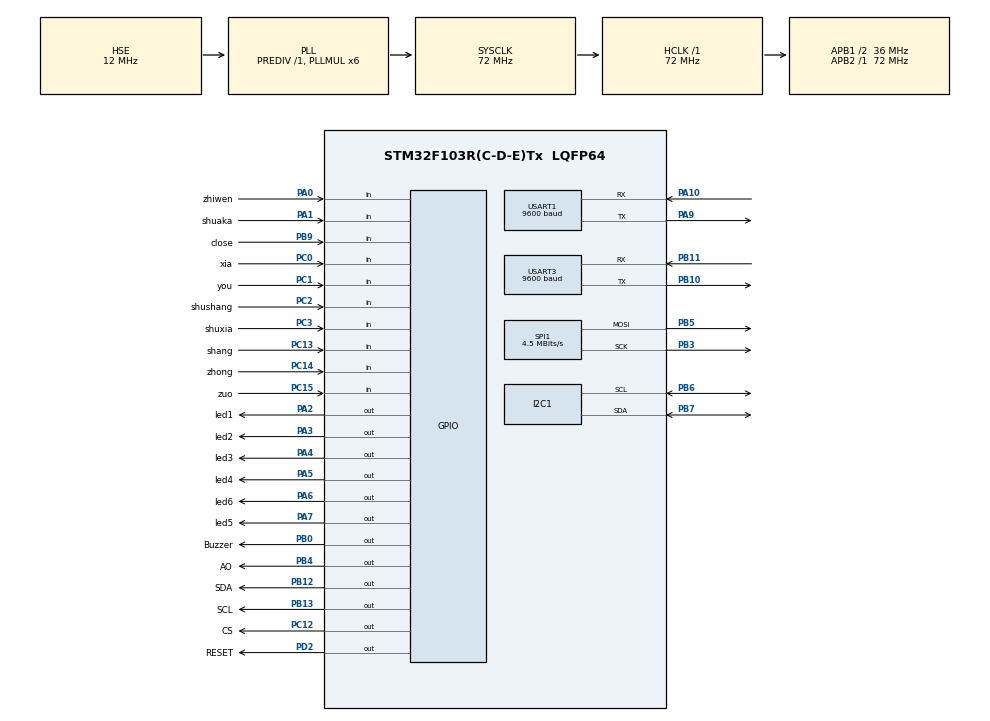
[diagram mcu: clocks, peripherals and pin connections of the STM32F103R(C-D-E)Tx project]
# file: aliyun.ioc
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Dma.Request0=USART3_RX
Dma.Request1=USART3_TX
Dma.USART3_RX.0.Direction=DMA_PERIPH_TO_MEMORY
Dma.USART3_RX.0.Instance=DMA1_Channel3
Dma.USART3_RX.0.MemDataAlignment=DMA_MDATAALIGN_BYTE
Dma.USART3_RX.0.MemInc=DMA_MINC_ENABLE
Dma.USART3_RX.0.Mode=DMA_NORMAL
Dma.USART3_RX.0.PeriphDataAlignment=DMA_PDATAALIGN_BYTE
Dma.USART3_RX.0.PeriphInc=DMA_PINC_DISABLE
Dma.USART3_RX.0.Priority=DMA_PRIORITY_LOW
Dma.USART3_TX.1.Direction=DMA_MEMORY_TO_PERIPH
Dma.USART3_TX.1.Instance=DMA1_Channel2
Dma.USART3_TX.1.MemDataAlignment=DMA_MDATAALIGN_BYTE
Dma.USART3_TX.1.MemInc=DMA_MINC_ENABLE
Dma.USART3_TX.1.Mode=DMA_NORMAL
Dma.USART3_TX.1.PeriphDataAlignment=DMA_PDATAALIGN_BYTE
Dma.USART3_TX.1.PeriphInc=DMA_PINC_DISABLE
Dma.USART3_TX.1.Priority=DMA_PRIORITY_LOW
IWDG.Prescaler=IWDG_PRESCALER_16
IWDG.Reload=1600
Mcu.Family=STM32F1
Mcu.Name=STM32F103R(C-D-E)Tx
Mcu.Package=LQFP64
NVIC.DMA1_Channel2_IRQn=true\:0\:0\:false\:false\:true\:false\:true
NVIC.DMA1_Channel3_IRQn=true\:0\:0\:false\:false\:true\:false\:true
NVIC.PriorityGroup=NVIC_PRIORITYGROUP_4
NVIC.TIM1_BRK_IRQn=true\:0\:0\:false\:false\:true\:true\:true
NVIC.TIM1_UP_IRQn=true\:0\:0\:false\:false\:true\:true\:true
NVIC.TIM2_IRQn=true\:1\:0\:true\:false\:true\:true\:true
NVIC.USART3_IRQn=true\:0\:0\:false\:false\:true\:true\:true
PA0-WKUP.GPIO_Label=zhiwen
PA0-WKUP.Signal=GPIO_Input
PA1.GPIO_Label=shuaka
PA1.Signal=GPIO_Input
PA10.Mode=Asynchronous
PA10.Signal=USART1_RX
PA13.Mode=Serial_Wire
PA13.Signal=SYS_JTMS-SWDIO
PA14.Mode=Serial_Wire
PA14.Signal=SYS_JTCK-SWCLK
PA2.GPIO_Label=led1
PA2.Signal=GPIO_Output
PA3.GPIO_Label=led2
PA3.Signal=GPIO_Output
PA4.GPIO_Label=led3
PA4.Signal=GPIO_Output
PA5.GPIO_Label=led4
PA5.Signal=GPIO_Output
PA6.GPIO_Label=led6
PA6.Signal=GPIO_Output
PA7.GPIO_Label=led5
PA7.Signal=GPIO_Output
PA9.Mode=Asynchronous
PA9.Signal=USART1_TX
PB0.GPIO_Label=Buzzer
PB0.Signal=GPIO_Output
PB10.Mode=Asynchronous
PB10.Signal=USART3_TX
PB11.Mode=Asynchronous
PB11.Signal=USART3_RX
PB12.GPIO_Label=SDA
PB12.GPIO_ModeDefaultOutputPP=GPIO_MODE_OUTPUT_OD
PB12.GPIO_Speed=GPIO_SPEED_FREQ_HIGH
PB12.Signal=GPIO_Output
PB13.GPIO_Label=SCL
PB13.GPIO_ModeDefaultOutputPP=GPIO_MODE_OUTPUT_OD
PB13.GPIO_Speed=GPIO_SPEED_FREQ_HIGH
PB13.Signal=GPIO_Output
PB3.Mode=TX_Only_Simplex_Unidirect_Master
PB3.Signal=SPI1_SCK
PB4.GPIO_Label=AO
PB4.Signal=GPIO_Output
PB5.Mode=TX_Only_Simplex_Unidirect_Master
PB5.Signal=SPI1_MOSI
PB6.Mode=I2C
PB6.Signal=I2C1_SCL
PB7.Mode=I2C
PB7.Signal=I2C1_SDA
PB9.GPIO_Label=close
PB9.Signal=GPIO_Input
PC0.GPIO_Label=xia
PC0.Signal=GPIO_Input
PC1.GPIO_Label=you
PC1.Signal=GPIO_Input
PC12.GPIO_Label=CS
PC12.Signal=GPIO_Output
PC13-TAMPER-RTC.GPIO_Label=shang
PC13-TAMPER-RTC.Signal=GPIO_Input
PC14-OSC32_IN.GPIO_Label=zhong
PC14-OSC32_IN.Signal=GPIO_Input
PC15-OSC32_OUT.GPIO_Label=zuo
PC15-OSC32_OUT.Signal=GPIO_Input
PC2.GPIO_Label=shushang
PC2.Signal=GPIO_Input
PC3.GPIO_Label=shuxia
PC3.Signal=GPIO_Input
PD0-OSC_IN.Mode=HSE-External-Oscillator
PD0-OSC_IN.Signal=RCC_OSC_IN
PD1-OSC_OUT.Mode=HSE-External-Oscillator
PD1-OSC_OUT.Signal=RCC_OSC_OUT
PD2.GPIO_Label=RESET
PD2.Signal=GPIO_Output
ProjectManager.HeapSize=0x200
ProjectManager.StackSize=0x400
ProjectManager.TargetToolchain=MDK-ARM V5
RCC.AHBFreq_Value=72000000
RCC.APB1CLKDivider=RCC_HCLK_DIV2
RCC.APB1Freq_Value=36000000
RCC.APB1TimFreq_Value=72000000
RCC.APB2Freq_Value=72000000
RCC.APB2TimFreq_Value=72000000
RCC.HCLKFreq_Value=72000000
RCC.HSE_VALUE=12000000
RCC.PLLMUL=RCC_PLL_MUL6
RCC.PLLSourceVirtual=RCC_PLLSOURCE_HSE
RCC.SYSCLKFreq_VALUE=72000000
RCC.SYSCLKSource=RCC_SYSCLKSOURCE_PLLCLK
RCC.USBFreq_Value=72000000
SPI1.BaudRatePrescaler=SPI_BAUDRATEPRESCALER_16
SPI1.CalculateBaudRate=4.5 MBits/s
SPI1.Direction=SPI_DIRECTION_2LINES
SPI1.Mode=SPI_MODE_MASTER
SPI1.VirtualType=VM_MASTER
TIM1.Period=10000-1
TIM1.Prescaler=7200-1
TIM2.Period=10000-1
TIM2.Prescaler=720-1
USART1.BaudRate=9600
USART1.VirtualMode=VM_ASYNC
USART3.BaudRate=9600
USART3.VirtualMode=VM_ASYNC
VP_IWDG_VS_IWDG.Mode=IWDG_Activate
VP_TIM1_VS_ClockSourceINT.Mode=Internal
VP_TIM2_VS_ClockSourceINT.Mode=Internal
board=custom

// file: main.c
/* USER CODE BEGIN Header */
/**
  ******************************************************************************
  * @file           : main.c
  * @brief          : Main program body
  ******************************************************************************
  * @attention
  *
  * <h2><center>&copy; Copyright (c) 2019 STMicroelectronics.
  * All rights reserved.</center></h2>
  *
  * This software component is licensed by ST under BSD 3-Clause license,
  * the "License"; You may not use this file except in compliance with the
  * License. You may obtain a copy of the License at:
  *                        opensource.org/licenses/BSD-3-Clause
  *
  ******************************************************************************
  */
/* USER CODE END Header */

#include "main.h"
#include "dma.h"
#include "i2c.h"
#include "iwdg.h"
#include "spi.h"
#include "tim.h"
#include "usart.h"
#include "gpio.h"

/* USER CODE BEGIN Includes */
#include "command.h"
#include "Data_Processing.h"
#include "string.h"
#include "oled.h"
#include "func.h"
#include "flag.h"  //用来装标志位
#include "ui.h"
#include "bmp180.h"
#include "BH1750FVI.h"
/* USER CODE END Includes */

/* USER CODE BEGIN PTD */
//float temperature=0.0,humidity=0.0;
char mqtt_data[200];
unsigned char su[]="Success";
unsigned char fa[]="Fail";

/* USER CODE END PTD */

void SystemClock_Config(void);
/* USER CODE BEGIN PFP */
//void rawdata_hex(void);
/* USER CODE END PFP */

/* USER CODE BEGIN 0 */
	//printf("%s","hello");
/* USER CODE END 0 */

int main(void)
{

  /* MCU Configuration--------------------------------------------------------*/

  /* Reset of all peripherals, Initializes the Flash interface and the Systick. */
  HAL_Init();

  /* Configure the system clock */
  SystemClock_Config();

  /* Initialize all configured peripherals */
  MX_GPIO_Init();
  MX_DMA_Init();
  MX_I2C1_Init();
  MX_USART1_UART_Init();
  MX_USART3_UART_Init();
  MX_TIM1_Init();
  MX_SPI1_Init();
  MX_IWDG_Init();
  MX_TIM2_Init();
  /* USER CODE BEGIN 2 */
  HAL_TIM_Base_Start_IT(&htim1);  //tim1中断
	HAL_TIM_Base_Start_IT(&htim2);  //tim2中断
	HAL_IWDG_Init(&hiwdg);//初始化并开启iwdg
	/****************************  串口使能   ********************************************/
	HAL_UART_Receive_DMA(&huart3, UsartType.RX_pData, RX_LEN);
	__HAL_UART_ENABLE_IT(&huart3, UART_IT_IDLE);
	/******************************* 串口中断***********************************/

	BH1750_start(); //光照
	BMP_Init();  //气压
	lcd7735_ini();
	lcd7735_fillrect(0, 0, 128, 160, BLACK);

	ui_welcom();
	HAL_Delay(1000);
	ui_wait();
	if(connect_onenet()==0)
			{show_error(); 	while(1);}
	HAL_GPIO_WritePin(GPIOB,GPIO_PIN_0,GPIO_PIN_SET);
	HAL_Delay(500);
	HAL_GPIO_WritePin(GPIOB,GPIO_PIN_0,GPIO_PIN_RESET);
  /* USER CODE END 2 */

  /* Infinite loop */
  /* USER CODE BEGIN WHILE */
  while (1)
  {

		diaplay();
		judge_flag();

    /* USER CODE END WHILE */

  }
}

void SystemClock_Config(void)
{
  RCC_OscInitTypeDef RCC_OscInitStruct = {0};
  RCC_ClkInitTypeDef RCC_ClkInitStruct = {0};

  /** Initializes the CPU, AHB and APB busses clocks
  */
  RCC_OscInitStruct.OscillatorType = RCC_OSCILLATORTYPE_LSI|RCC_OSCILLATORTYPE_HSE;
  RCC_OscInitStruct.HSEState = RCC_HSE_ON;
  RCC_OscInitStruct.HSEPredivValue = RCC_HSE_PREDIV_DIV1;
  RCC_OscInitStruct.HSIState = RCC_HSI_ON;
  RCC_OscInitStruct.LSIState = RCC_LSI_ON;
  RCC_OscInitStruct.PLL.PLLState = RCC_PLL_ON;
  RCC_OscInitStruct.PLL.PLLSource = RCC_PLLSOURCE_HSE;
  RCC_OscInitStruct.PLL.PLLMUL = RCC_PLL_MUL6;
  if (HAL_RCC_OscConfig(&RCC_OscInitStruct) != HAL_OK)
  {
    Error_Handler();
  }
  /** Initializes the CPU, AHB and APB busses clocks
  */
  RCC_ClkInitStruct.ClockType = RCC_CLOCKTYPE_HCLK|RCC_CLOCKTYPE_SYSCLK
                              |RCC_CLOCKTYPE_PCLK1|RCC_CLOCKTYPE_PCLK2;
  RCC_ClkInitStruct.SYSCLKSource = RCC_SYSCLKSOURCE_PLLCLK;
  RCC_ClkInitStruct.AHBCLKDivider = RCC_SYSCLK_DIV1;
  RCC_ClkInitStruct.APB1CLKDivider = RCC_HCLK_DIV2;
  RCC_ClkInitStruct.APB2CLKDivider = RCC_HCLK_DIV1;

  if (HAL_RCC_ClockConfig(&RCC_ClkInitStruct, FLASH_LATENCY_2) != HAL_OK)
  {
    Error_Handler();
  }
}

/* USER CODE BEGIN 4 */
void mqtt_test(void)
{
//		rawdata_hex(mqtt_data);
//		if(send_command(mqtt_data,"+MQTT",5)==1){
//			OLED_ShowNum_float(20,1,contenT.temp,2);
//			OLED_ShowNum_float(20,4,contenT.hum,2);
//		}
//		else if(send_command(nb_mqtt_state,"5",2)!=1){
//			OLED_ShowStr(0,3,"reconnection",2);
//			reconnection();
//		}
//		else{
//			connect_onenet();
//			OLED_ShowStr(0,3,"connection",2);
//		}
//
}
/* USER CODE END 4 */

void Error_Handler(void)
{
}

/************************ (C) COPYRIGHT STMicroelectronics *****END OF FILE****/
